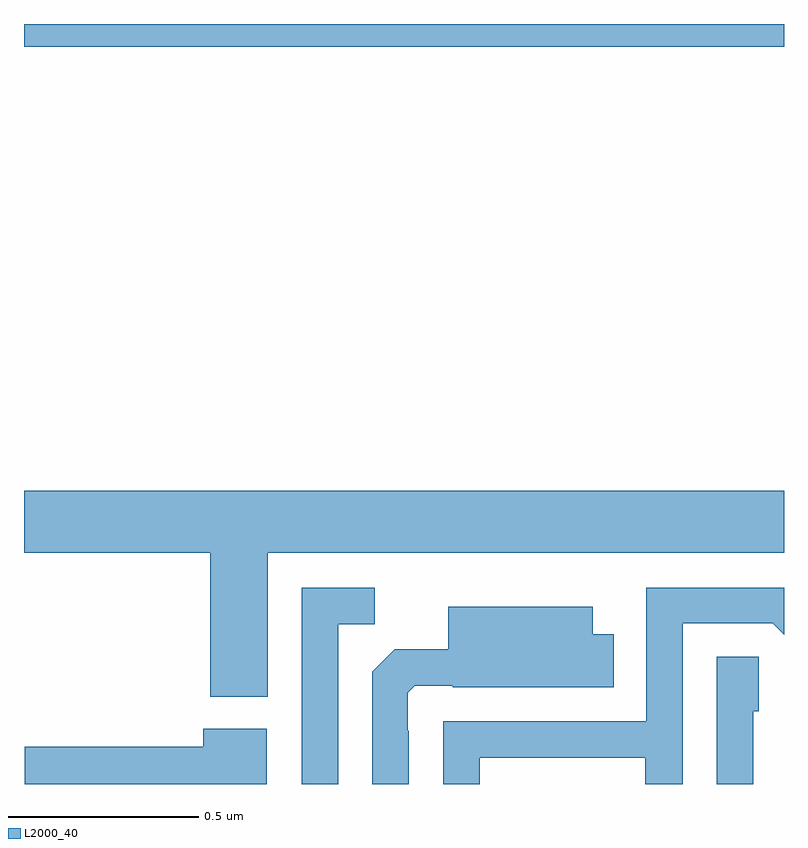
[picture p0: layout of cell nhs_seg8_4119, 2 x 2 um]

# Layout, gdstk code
import gdstk
lib = gdstk.Library(unit=1e-6, precision=1e-09)
def R(c, l, rs):  # rectangles x0, y0, x1, y1
    for r in rs: c.add(gdstk.rectangle(r[:2], r[2:], *l))
def P(c, l, *ps):  # polygons
    for p in ps: c.add(gdstk.Polygon(p, *l))
L2000_40 = (2000, 40)

nhs_seg8_4119 = lib.new_cell('nhs_seg8_4119')
R(nhs_seg8_4119, L2000_40, [(166,1109.84,168,1109.9)])
P(nhs_seg8_4119, L2000_40, [(166.642,1108.508),(168,1108.508),(168,1108.672),(166,1108.672),(166,1108.508),(166.49,1108.508),(166.49,1108.13),(166.642,1108.13)],
  [(166.827,1108.321),(166.923,1108.321),(166.923,1108.416),(166.731,1108.416),(166.731,1107.9),(166.827,1107.9)],
  [(167.199,1107.969),(167.635,1107.969),(167.635,1107.9),(167.733,1107.9),(167.733,1108.323),(167.97,1108.323),(168,1108.293),(168,1108.416),(167.637,1108.416),(167.637,1108.065),(167.103,1108.065),(167.103,1107.9),(167.199,1107.9)],
  [(167.013,1108.04),(167.01,1108.04),(167.01,1108.14),(167.028,1108.158),(167.128,1108.158),(167.128,1108.154),(167.552,1108.154),(167.552,1108.294),(167.497,1108.294),(167.497,1108.366),(167.117,1108.366),(167.117,1108.255),(166.976,1108.255),(166.917,1108.196),(166.917,1107.9),(167.013,1107.9)],
  [(167.919,1108.092),(167.934,1108.092),(167.934,1108.235),(167.823,1108.235),(167.823,1107.9),(167.919,1107.9)],
  [(166.639,1108.045),(166.472,1108.045),(166.472,1107.998),(166.002,1107.998),(166.002,1107.9),(166.639,1107.9)])

lib.write_gds('nhs_seg8_4119.gds')
